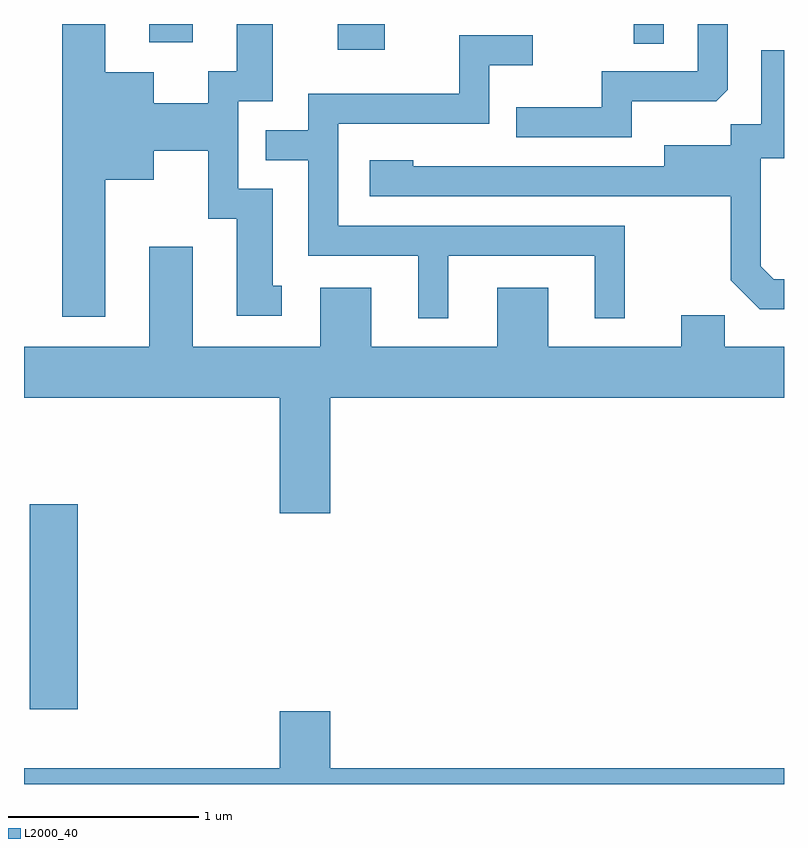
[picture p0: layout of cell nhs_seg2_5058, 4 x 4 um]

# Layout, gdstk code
import gdstk
lib = gdstk.Library(unit=1e-6, precision=1e-09)
def R(c, l, rs):  # rectangles x0, y0, x1, y1
    for r in rs: c.add(gdstk.rectangle(r[:2], r[2:], *l))
def P(c, l, *ps):  # polygons
    for p in ps: c.add(gdstk.Polygon(p, *l))
L2000_40 = (2000, 40)

nhs_seg2_5058 = lib.new_cell('nhs_seg2_5058')
R(nhs_seg2_5058, L2000_40, [(333.641,1082.196,333.894,1083.274), (335.261,1085.666,335.509,1085.802), (336.821,1085.698,336.979,1085.802), (334.271,1085.706,334.499,1085.802)])
P(nhs_seg2_5058, L2000_40, [(336.809,1085.396),(337.254,1085.396),(337.314,1085.457),(337.314,1085.802),(337.156,1085.802),(337.156,1085.554),(336.651,1085.554),(336.651,1085.364),(336.203,1085.364),(336.203,1085.206),(336.809,1085.206)],
  [(334.039,1084.981),(334.294,1084.981),(334.294,1085.136),(334.581,1085.136),(334.581,1084.776),(334.731,1084.776),(334.731,1084.266),(334.968,1084.266),(334.968,1084.424),(334.919,1084.424),(334.919,1084.934),(334.739,1084.934),(334.739,1085.396),(334.919,1085.396),(334.919,1085.802),(334.731,1085.802),(334.731,1085.554),(334.581,1085.554),(334.581,1085.384),(334.294,1085.384),(334.294,1085.549),(334.039,1085.549),(334.039,1085.802),(333.811,1085.802),(333.811,1084.261),(334.039,1084.261)],
  [(335.844,1084.581),(336.616,1084.581),(336.616,1084.253),(336.774,1084.253),(336.774,1084.739),(335.264,1084.739),(335.264,1085.276),(336.059,1085.276),(336.059,1085.586),(336.288,1085.586),(336.288,1085.744),(335.901,1085.744),(335.901,1085.434),(335.106,1085.434),(335.106,1085.244),(334.883,1085.244),(334.883,1085.086),(335.106,1085.086),(335.106,1084.581),(335.686,1084.581),(335.686,1084.253),(335.844,1084.253)],
  [(337.611,1084.459),(337.557,1084.459),(337.489,1084.527),(337.489,1085.096),(337.611,1085.096),(337.611,1085.663),(337.491,1085.663),(337.491,1085.274),(337.331,1085.274),(337.331,1085.164),(336.981,1085.164),(336.981,1085.054),(335.659,1085.054),(335.659,1085.084),(335.431,1085.084),(335.431,1084.896),(337.331,1084.896),(337.331,1084.454),(337.484,1084.301),(337.611,1084.301)],
  [(335.224,1083.836),(337.611,1083.836),(337.611,1084.104),(337.299,1084.104),(337.299,1084.269),(337.071,1084.269),(337.071,1084.104),(336.369,1084.104),(336.369,1084.414),(336.101,1084.414),(336.101,1084.104),(335.439,1084.104),(335.439,1084.414),(335.171,1084.414),(335.171,1084.104),(334.499,1084.104),(334.499,1084.629),(334.271,1084.629),(334.271,1084.104),(333.611,1084.104),(333.611,1083.836),(334.956,1083.836),(334.956,1083.226),(335.224,1083.226)],
  [(337.611,1081.884),(335.224,1081.884),(335.224,1082.184),(334.956,1082.184),(334.956,1081.884),(333.611,1081.884),(333.611,1081.802),(337.611,1081.802)])

lib.write_gds('nhs_seg2_5058.gds')
